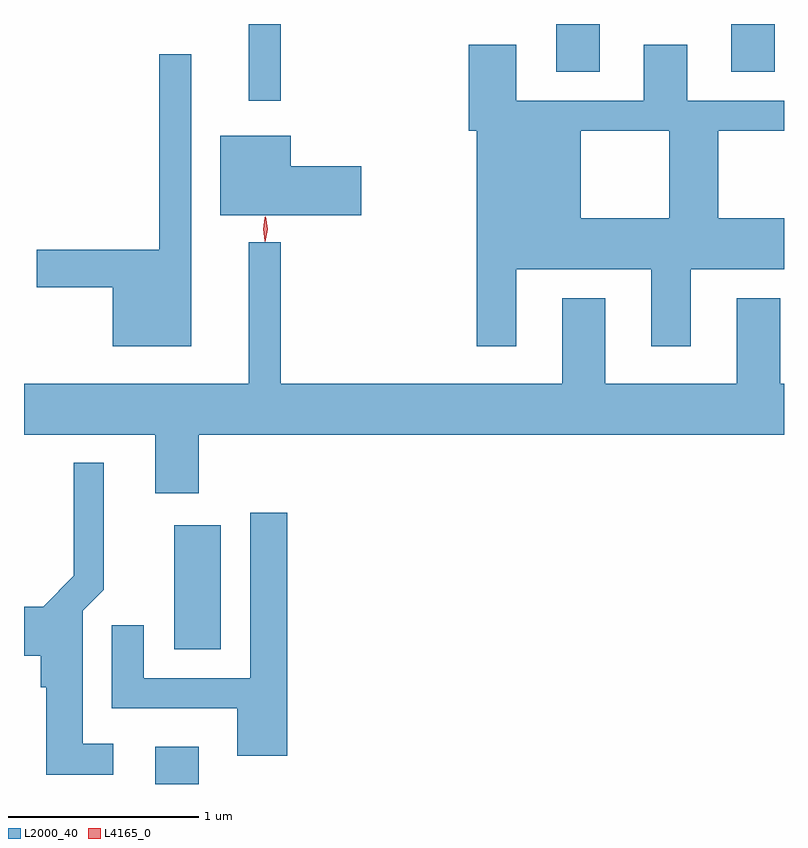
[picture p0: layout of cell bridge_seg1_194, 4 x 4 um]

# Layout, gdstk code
import gdstk
lib = gdstk.Library(unit=1e-6, precision=1e-09)
def R(c, l, rs):  # rectangles x0, y0, x1, y1
    for r in rs: c.add(gdstk.rectangle(r[:2], r[2:], *l))
def P(c, l, *ps):  # polygons
    for p in ps: c.add(gdstk.Polygon(p, *l))
L2000_40 = (2000, 40)
L4165_0 = (4165, 0)

bridge_seg1_194 = lib.new_cell('bridge_seg1_194')
R(bridge_seg1_194, L2000_40, [(646.941,953.237,647.169,953.434), (647.041,953.946,647.284,954.599), (647.431,956.833,647.599,957.237), (649.051,956.986,649.279,957.237), (649.971,956.986,650.199,957.237)])
P(bridge_seg1_194, L2000_40, [(648.839,955.541),(648.839,955.946),(649.551,955.946),(649.551,955.541),(649.759,955.541),(649.759,955.946),(650.249,955.946),(650.249,956.214),(649.904,956.214),(649.904,956.676),(650.249,956.676),(650.249,956.834),(649.739,956.834),(649.739,957.129),(649.511,957.129),(649.511,956.834),(648.839,956.834),(648.839,957.129),(648.591,957.129),(648.591,956.676),(648.631,956.676),(648.631,956.214),(649.179,956.214),(649.179,956.676),(649.646,956.676),(649.646,956.214),(649.179,956.214),(648.631,956.214),(648.631,955.541)],
  [(647.129,957.078),(646.961,957.078),(646.961,956.049),(646.316,956.049),(646.316,955.851),(646.716,955.851),(646.716,955.541),(647.129,955.541)],
  [(648.024,956.489),(647.654,956.489),(647.654,956.649),(647.281,956.649),(647.281,956.231),(648.024,956.231)],
  [(647.169,955.076),(650.249,955.076),(650.249,955.344),(650.229,955.344),(650.229,955.794),(650.001,955.794),(650.001,955.344),(649.309,955.344),(649.309,955.794),(649.081,955.794),(649.081,955.344),(647.599,955.344),(647.599,956.088),(647.431,956.088),(647.431,955.344),(646.249,955.344),(646.249,955.076),(646.941,955.076),(646.941,954.766),(647.169,954.766)],
  [(646.718,953.449),(646.559,953.449),(646.559,954.149),(646.669,954.259),(646.669,954.928),(646.511,954.928),(646.511,954.332),(646.349,954.169),(646.249,954.169),(646.249,953.911),(646.336,953.911),(646.336,953.746),(646.366,953.746),(646.366,953.286),(646.718,953.286)],
  [(647.634,954.664),(647.441,954.664),(647.441,953.794),(646.879,953.794),(646.879,954.073),(646.711,954.073),(646.711,953.636),(647.371,953.636),(647.371,953.386),(647.634,953.386)])
P(bridge_seg1_194, L4165_0, [(647.518,956.093),(647.517,956.094),(647.508,956.156),(647.517,956.219),(647.518,956.22),(647.518,956.219),(647.528,956.156),(647.518,956.094)],
  [(647.519,956.09),(647.511,956.158),(647.521,956.225),(647.522,956.226),(647.522,956.225),(647.531,956.158),(647.52,956.09),(647.52,956.09)])

lib.write_gds('bridge_seg1_194.gds')
